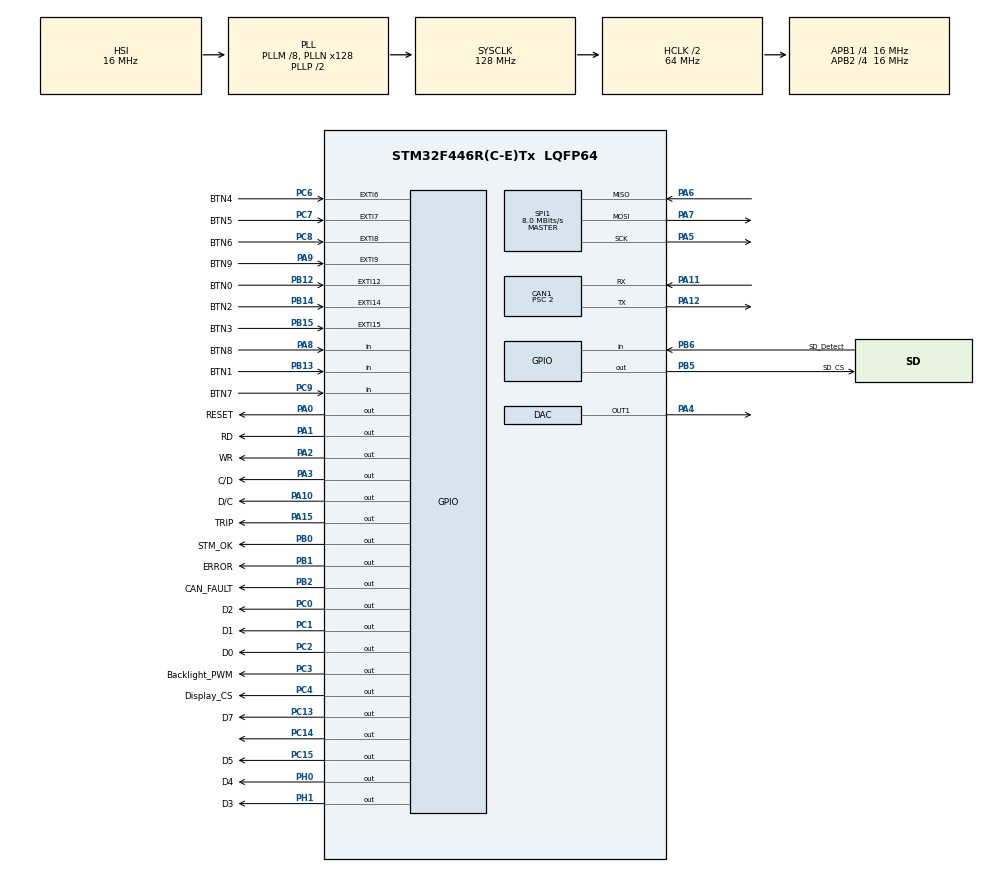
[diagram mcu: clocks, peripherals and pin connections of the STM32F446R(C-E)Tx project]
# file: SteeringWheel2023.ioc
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CAN1.BS1=CAN_BS1_13TQ
CAN1.BS2=CAN_BS2_2TQ
CAN1.CalculateBaudRate=500000
CAN1.CalculateTimeBit=2000
CAN1.CalculateTimeQuantum=125.0
CAN1.Prescaler=2
CAN1.SJW=CAN_SJW_1TQ
DAC.DAC_Trigger=DAC_TRIGGER_T2_TRGO
Dma.DAC1.0.Direction=DMA_MEMORY_TO_PERIPH
Dma.DAC1.0.FIFOMode=DMA_FIFOMODE_DISABLE
Dma.DAC1.0.Instance=DMA1_Stream5
Dma.DAC1.0.MemDataAlignment=DMA_MDATAALIGN_WORD
Dma.DAC1.0.MemInc=DMA_MINC_ENABLE
Dma.DAC1.0.Mode=DMA_CIRCULAR
Dma.DAC1.0.PeriphDataAlignment=DMA_PDATAALIGN_WORD
Dma.DAC1.0.PeriphInc=DMA_PINC_DISABLE
Dma.DAC1.0.Priority=DMA_PRIORITY_LOW
Dma.Request0=DAC1
FATFS._FS_REENTRANT=0
FATFS._MAX_SS=4096
FREERTOS.Tasks01=defaultTask,24,128,StartDefaultTask,Default,NULL,Dynamic,NULL,NULL
FREERTOS.configTOTAL_HEAP_SIZE=3072
Mcu.Family=STM32F4
Mcu.Name=STM32F446R(C-E)Tx
Mcu.Package=LQFP64
NVIC.CAN1_RX0_IRQn=true\:5\:0\:false\:false\:true\:true\:true\:true\:true
NVIC.DMA1_Stream5_IRQn=true\:5\:0\:false\:false\:true\:true\:false\:true\:true
NVIC.EXTI15_10_IRQn=true\:5\:0\:false\:false\:true\:true\:true\:true\:true
NVIC.EXTI9_5_IRQn=true\:5\:0\:false\:false\:true\:true\:true\:true\:true
NVIC.PriorityGroup=NVIC_PRIORITYGROUP_4
NVIC.TIM3_IRQn=true\:5\:0\:false\:false\:true\:true\:true\:true\:true
PA0-WKUP.GPIO_Label=RESET
PA0-WKUP.Signal=GPIO_Output
PA1.GPIO_Label=RD
PA1.Signal=GPIO_Output
PA10.GPIO_Label=D/C
PA10.GPIO_PuPd=GPIO_PULLUP
PA10.Signal=GPIO_Output
PA11.Mode=CAN_Activate
PA11.Signal=CAN1_RX
PA12.Mode=CAN_Activate
PA12.Signal=CAN1_TX
PA13.Mode=Serial_Wire
PA13.Signal=SYS_JTMS-SWDIO
PA14.Mode=Serial_Wire
PA14.Signal=SYS_JTCK-SWCLK
PA15.GPIO_Label=TRIP
PA15.GPIO_PuPd=GPIO_PULLDOWN
PA15.Signal=GPIO_Output
PA2.GPIO_Label=WR
PA2.Signal=GPIO_Output
PA3.GPIO_Label=C/D
PA3.Signal=GPIO_Output
PA4.Signal=COMP_DAC1_group
PA5.Mode=Full_Duplex_Master
PA5.Signal=SPI1_SCK
PA6.Mode=Full_Duplex_Master
PA6.Signal=SPI1_MISO
PA7.Mode=Full_Duplex_Master
PA7.Signal=SPI1_MOSI
PA8.GPIO_Label=BTN8
PA8.GPIO_PuPd=GPIO_PULLUP
PA8.Signal=GPIO_Input
PA9.GPIO_Label=BTN9
PA9.GPIO_ModeDefaultEXTI=GPIO_MODE_IT_FALLING
PA9.GPIO_PuPd=GPIO_PULLUP
PA9.Signal=GPXTI9
PB0.GPIO_Label=STM_OK
PB0.Signal=GPIO_Output
PB1.GPIO_Label=ERROR
PB1.Signal=GPIO_Output
PB12.GPIO_Label=BTN0
PB12.GPIO_ModeDefaultEXTI=GPIO_MODE_IT_FALLING
PB12.GPIO_PuPd=GPIO_PULLUP
PB12.Signal=GPXTI12
PB13.GPIO_Label=BTN1
PB13.GPIO_PuPd=GPIO_PULLUP
PB13.Signal=GPIO_Input
PB14.GPIO_Label=BTN2
PB14.GPIO_ModeDefaultEXTI=GPIO_MODE_IT_FALLING
PB14.GPIO_PuPd=GPIO_PULLUP
PB14.Signal=GPXTI14
PB15.GPIO_Label=BTN3
PB15.GPIO_ModeDefaultEXTI=GPIO_MODE_IT_FALLING
PB15.GPIO_PuPd=GPIO_PULLUP
PB15.Signal=GPXTI15
PB2.GPIO_Label=CAN_FAULT
PB2.Signal=GPIO_Output
PB5.GPIO_Label=SD_CS
PB5.Signal=GPIO_Output
PB6.GPIO_Label=SD_Detect
PB6.Signal=GPIO_Input
PC0.GPIO_Label=D2
PC0.Signal=GPIO_Output
PC1.GPIO_Label=D1
PC1.Signal=GPIO_Output
PC13.GPIO_Label=D7
PC13.Signal=GPIO_Output
PC14-OSC32_IN.Signal=GPIO_Output
PC15-OSC32_OUT.GPIO_Label=D5
PC15-OSC32_OUT.Signal=GPIO_Output
PC2.GPIO_Label=D0
PC2.Signal=GPIO_Output
PC3.GPIO_Label=Backlight_PWM
PC3.Signal=GPIO_Output
PC4.GPIO_Label=Display_CS
PC4.Signal=GPIO_Output
PC6.GPIO_Label=BTN4
PC6.GPIO_ModeDefaultEXTI=GPIO_MODE_IT_FALLING
PC6.GPIO_PuPd=GPIO_PULLUP
PC6.Signal=GPXTI6
PC7.GPIO_Label=BTN5
PC7.GPIO_ModeDefaultEXTI=GPIO_MODE_IT_FALLING
PC7.GPIO_PuPd=GPIO_PULLUP
PC7.Signal=GPXTI7
PC8.GPIO_Label=BTN6
PC8.GPIO_ModeDefaultEXTI=GPIO_MODE_IT_FALLING
PC8.GPIO_PuPd=GPIO_PULLUP
PC8.Signal=GPXTI8
PC9.GPIO_Label=BTN7
PC9.GPIO_PuPd=GPIO_PULLUP
PC9.Signal=GPIO_Input
PH0-OSC_IN.GPIO_Label=D4
PH0-OSC_IN.Signal=GPIO_Output
PH1-OSC_OUT.GPIO_Label=D3
PH1-OSC_OUT.Signal=GPIO_Output
ProjectManager.HeapSize=0x200
ProjectManager.StackSize=0x400
ProjectManager.TargetToolchain=STM32CubeIDE
RCC.AHBCLKDivider=RCC_SYSCLK_DIV2
RCC.AHBFreq_Value=64000000
RCC.APB1CLKDivider=RCC_HCLK_DIV4
RCC.APB1Freq_Value=16000000
RCC.APB1TimFreq_Value=32000000
RCC.APB2CLKDivider=RCC_HCLK_DIV4
RCC.APB2Freq_Value=16000000
RCC.APB2TimFreq_Value=32000000
RCC.CortexFreq_Value=64000000
RCC.HCLKFreq_Value=64000000
RCC.PLLM=8
RCC.PLLN=128
RCC.PLLQ=6
RCC.PLLSAIP=RCC_PLLSAIP_DIV4
RCC.PLLSourceVirtual=RCC_PLLSOURCE_HSI
RCC.SYSCLKFreq_VALUE=128000000
RCC.SYSCLKSource=RCC_SYSCLKSOURCE_PLLCLK
RCC.USBCLockSelection=RCC_CLK48CLKSOURCE_PLLSAIP
RCC.USBFreq_Value=48000000
RCC.VCOOutputFreq_Value=256000000
SH.COMP_DAC1_group.0=DAC_OUT1,DAC_OUT1
SPI1.BaudRatePrescaler=SPI_BAUDRATEPRESCALER_2
SPI1.CalculateBaudRate=8.0 MBits/s
SPI1.Direction=SPI_DIRECTION_2LINES
SPI1.Mode=SPI_MODE_MASTER
SPI1.VirtualType=VM_MASTER
TIM2.AutoReloadPreload=TIM_AUTORELOAD_PRELOAD_DISABLE
TIM2.Period=100
TIM2.Prescaler=31
TIM2.TIM_MasterOutputTrigger=TIM_TRGO_UPDATE
TIM2.TIM_MasterSlaveMode=TIM_MASTERSLAVEMODE_DISABLE
TIM3.Period=275
TIM3.Prescaler=4095
VP_FATFS_VS_Generic.Mode=User_defined
VP_FREERTOS_VS_CMSIS_V2.Mode=CMSIS_V2
VP_TIM2_VS_ClockSourceINT.Mode=Internal
VP_TIM3_VS_ClockSourceINT.Mode=Internal
board=custom

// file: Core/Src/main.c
/* USER CODE BEGIN Header */
/**
  ******************************************************************************
  * @file           : main.c
  * @brief          : Main program body
  ******************************************************************************
  * @attention
  *
  * Copyright (c) 2023 STMicroelectronics.
  * All rights reserved.
  *
  * This software is licensed under terms that can be found in the LICENSE file
  * in the root directory of this software component.
  * If no LICENSE file comes with this software, it is provided AS-IS.
  *
  ******************************************************************************
  */
/* USER CODE END Header */
#include "main.h"
#include "cmsis_os.h"
#include "fatfs.h"

CAN_HandleTypeDef hcan1;

DAC_HandleTypeDef hdac;
DMA_HandleTypeDef hdma_dac1;

SPI_HandleTypeDef hspi1;

TIM_HandleTypeDef htim2;
TIM_HandleTypeDef htim3;

/* Definitions for defaultTask */
osThreadId_t defaultTaskHandle;
const osThreadAttr_t defaultTask_attributes = {
  .name = "defaultTask",
  .stack_size = 128 * 4,
  .priority = (osPriority_t) osPriorityNormal,
};

void SystemClock_Config(void);
static void MX_GPIO_Init(void);
static void MX_DMA_Init(void);
static void MX_CAN1_Init(void);
static void MX_SPI1_Init(void);
static void MX_TIM2_Init(void);
static void MX_DAC_Init(void);
static void MX_TIM3_Init(void);
void StartDefaultTask(void *argument);

/* USER CODE BEGIN PFP */
uint32_t sine_vals[100] = {0x8000,0x8809,0x900a,0x97fc,0x9fd4,0xa78d,0xaf1e,0xb67f,0xbda9,0xc495,0xcb3c,0xd196,0xd79e,0xdd4e,0xe29f,0xe78d,0xec12,0xf02a,0xf3d0,0xf702,0xf9bb,0xfbfa,0xfdbb,0xfefd,0xffbe,0xffff,0xffbe,0xfefd,0xfdbb,0xfbfa,0xf9bb,0xf702,0xf3d0,0xf02a,0xec12,0xe78d,0xe29f,0xdd4e,0xd79e,0xd196,0xcb3c,0xc495,0xbda9,0xb67f,0xaf1e,0xa78d,0x9fd4,0x97fc,0x900a,0x8809,0x8000,0x77f6,0x6ff5,0x6803,0x602b,0x5872,0x50e1,0x4980,0x4256,0x3b6a,0x34c3,0x2e69,0x2861,0x22b1,0x1d60,0x1872,0x13ed,0xfd5,0xc2f,0x8fd,0x644,0x405,0x244,0x102,0x41,0x0,0x41,0x102,0x244,0x405,0x644,0x8fd,0xc2f,0xfd5,0x13ed,0x1872,0x1d60,0x22b1,0x2861,0x2e69,0x34c3,0x3b6a,0x4256,0x4980,0x50e1,0x5872,0x602b,0x6803,0x6ff5,0x77f6};
/* USER CODE END PFP */

int main(void)
{

  /* MCU Configuration--------------------------------------------------------*/

  /* Reset of all peripherals, Initializes the Flash interface and the Systick. */
  HAL_Init();

  /* Configure the system clock */
  SystemClock_Config();

  /* Initialize all configured peripherals */
  MX_GPIO_Init();
  MX_DMA_Init();
  MX_CAN1_Init();
  MX_SPI1_Init();
  MX_FATFS_Init();
  MX_TIM2_Init();
  MX_DAC_Init();
  MX_TIM3_Init();
  /* USER CODE BEGIN 2 */
  HAL_DAC_Start(&hdac, DAC_CHANNEL_1);
  HAL_DAC_Start_DMA(&hdac, DAC_CHANNEL_1, sine_vals, 100, DAC_ALIGN_12B_R);
  osKernelInitialize();
  defaultTaskHandle = osThreadNew(StartDefaultTask, NULL, &defaultTask_attributes);
  CPP_UserSetup();
  /* USER CODE END 2 */

  /* Init scheduler */
  //osKernelInitialize();
/* USER CODE BEGIN Header */
/**
  ******************************************************************************
  * @file           : main.c
  * @brief          : Main program body
  ******************************************************************************
  * @attention
  *
  * Copyright (c) 2023 STMicroelectronics.
  * All rights reserved.
  *
  * This software is licensed under terms that can be found in the LICENSE file
  * in the root directory of this software component.
  * If no LICENSE file comes with this software, it is provided AS-IS.
  *
  ******************************************************************************
  */
/* USER CODE END Header */

  /* Start scheduler */
  osKernelStart();

  /* We should never get here as control is now taken by the scheduler */
  /* Infinite loop */
  /* USER CODE BEGIN WHILE */

  while (1)
  {
	HAL_GPIO_TogglePin(STM_OK_GPIO_Port, STM_OK_Pin);
	HAL_Delay(500);

    /* USER CODE END WHILE */

  }
}

void SystemClock_Config(void)
{
  RCC_OscInitTypeDef RCC_OscInitStruct = {0};
  RCC_ClkInitTypeDef RCC_ClkInitStruct = {0};

  /** Configure the main internal regulator output voltage
  */
  __HAL_RCC_PWR_CLK_ENABLE();
  __HAL_PWR_VOLTAGESCALING_CONFIG(PWR_REGULATOR_VOLTAGE_SCALE3);

  /** Initializes the RCC Oscillators according to the specified parameters
  * in the RCC_OscInitTypeDef structure.
  */
  RCC_OscInitStruct.OscillatorType = RCC_OSCILLATORTYPE_HSI;
  RCC_OscInitStruct.HSIState = RCC_HSI_ON;
  RCC_OscInitStruct.HSICalibrationValue = RCC_HSICALIBRATION_DEFAULT;
  RCC_OscInitStruct.PLL.PLLState = RCC_PLL_ON;
  RCC_OscInitStruct.PLL.PLLSource = RCC_PLLSOURCE_HSI;
  RCC_OscInitStruct.PLL.PLLM = 8;
  RCC_OscInitStruct.PLL.PLLN = 128;
  RCC_OscInitStruct.PLL.PLLP = RCC_PLLP_DIV2;
  RCC_OscInitStruct.PLL.PLLQ = 6;
  RCC_OscInitStruct.PLL.PLLR = 2;
  if (HAL_RCC_OscConfig(&RCC_OscInitStruct) != HAL_OK)
  {
    Error_Handler();
  }

  /** Initializes the CPU, AHB and APB buses clocks
  */
  RCC_ClkInitStruct.ClockType = RCC_CLOCKTYPE_HCLK|RCC_CLOCKTYPE_SYSCLK
                              |RCC_CLOCKTYPE_PCLK1|RCC_CLOCKTYPE_PCLK2;
  RCC_ClkInitStruct.SYSCLKSource = RCC_SYSCLKSOURCE_PLLCLK;
  RCC_ClkInitStruct.AHBCLKDivider = RCC_SYSCLK_DIV2;
  RCC_ClkInitStruct.APB1CLKDivider = RCC_HCLK_DIV4;
  RCC_ClkInitStruct.APB2CLKDivider = RCC_HCLK_DIV4;

  if (HAL_RCC_ClockConfig(&RCC_ClkInitStruct, FLASH_LATENCY_2) != HAL_OK)
  {
    Error_Handler();
  }
}

static void MX_CAN1_Init(void)
{

  hcan1.Instance = CAN1;
  hcan1.Init.Prescaler = 2;
  hcan1.Init.Mode = CAN_MODE_NORMAL;
  hcan1.Init.SyncJumpWidth = CAN_SJW_1TQ;
  hcan1.Init.TimeSeg1 = CAN_BS1_13TQ;
  hcan1.Init.TimeSeg2 = CAN_BS2_2TQ;
  hcan1.Init.TimeTriggeredMode = DISABLE;
  hcan1.Init.AutoBusOff = DISABLE;
  hcan1.Init.AutoWakeUp = DISABLE;
  hcan1.Init.AutoRetransmission = DISABLE;
  hcan1.Init.ReceiveFifoLocked = DISABLE;
  hcan1.Init.TransmitFifoPriority = DISABLE;
  if (HAL_CAN_Init(&hcan1) != HAL_OK)
  {
    Error_Handler();
  }

}

static void MX_DAC_Init(void)
{

  DAC_ChannelConfTypeDef sConfig = {0};

  /** DAC Initialization
  */
  hdac.Instance = DAC;
  if (HAL_DAC_Init(&hdac) != HAL_OK)
  {
    Error_Handler();
  }

  /** DAC channel OUT1 config
  */
  sConfig.DAC_Trigger = DAC_TRIGGER_T2_TRGO;
  sConfig.DAC_OutputBuffer = DAC_OUTPUTBUFFER_ENABLE;
  if (HAL_DAC_ConfigChannel(&hdac, &sConfig, DAC_CHANNEL_1) != HAL_OK)
  {
    Error_Handler();
  }

}

static void MX_SPI1_Init(void)
{

  /* SPI1 parameter configuration*/
  hspi1.Instance = SPI1;
  hspi1.Init.Mode = SPI_MODE_MASTER;
  hspi1.Init.Direction = SPI_DIRECTION_2LINES;
  hspi1.Init.DataSize = SPI_DATASIZE_8BIT;
  hspi1.Init.CLKPolarity = SPI_POLARITY_LOW;
  hspi1.Init.CLKPhase = SPI_PHASE_1EDGE;
  hspi1.Init.NSS = SPI_NSS_SOFT;
  hspi1.Init.BaudRatePrescaler = SPI_BAUDRATEPRESCALER_2;
  hspi1.Init.FirstBit = SPI_FIRSTBIT_MSB;
  hspi1.Init.TIMode = SPI_TIMODE_DISABLE;
  hspi1.Init.CRCCalculation = SPI_CRCCALCULATION_DISABLE;
  hspi1.Init.CRCPolynomial = 10;
  if (HAL_SPI_Init(&hspi1) != HAL_OK)
  {
    Error_Handler();
  }

}

static void MX_TIM2_Init(void)
{

  TIM_ClockConfigTypeDef sClockSourceConfig = {0};
  TIM_MasterConfigTypeDef sMasterConfig = {0};

  htim2.Instance = TIM2;
  htim2.Init.Prescaler = 31;
  htim2.Init.CounterMode = TIM_COUNTERMODE_UP;
  htim2.Init.Period = 100;
  htim2.Init.ClockDivision = TIM_CLOCKDIVISION_DIV1;
  htim2.Init.AutoReloadPreload = TIM_AUTORELOAD_PRELOAD_DISABLE;
  if (HAL_TIM_Base_Init(&htim2) != HAL_OK)
  {
    Error_Handler();
  }
  sClockSourceConfig.ClockSource = TIM_CLOCKSOURCE_INTERNAL;
  if (HAL_TIM_ConfigClockSource(&htim2, &sClockSourceConfig) != HAL_OK)
  {
    Error_Handler();
  }
  sMasterConfig.MasterOutputTrigger = TIM_TRGO_UPDATE;
  sMasterConfig.MasterSlaveMode = TIM_MASTERSLAVEMODE_DISABLE;
  if (HAL_TIMEx_MasterConfigSynchronization(&htim2, &sMasterConfig) != HAL_OK)
  {
    Error_Handler();
  }

}

static void MX_TIM3_Init(void)
{

  TIM_ClockConfigTypeDef sClockSourceConfig = {0};
  TIM_MasterConfigTypeDef sMasterConfig = {0};

  htim3.Instance = TIM3;
  htim3.Init.Prescaler = 4095;
  htim3.Init.CounterMode = TIM_COUNTERMODE_UP;
  htim3.Init.Period = 275;
  htim3.Init.ClockDivision = TIM_CLOCKDIVISION_DIV1;
  htim3.Init.AutoReloadPreload = TIM_AUTORELOAD_PRELOAD_DISABLE;
  if (HAL_TIM_Base_Init(&htim3) != HAL_OK)
  {
    Error_Handler();
  }
  sClockSourceConfig.ClockSource = TIM_CLOCKSOURCE_INTERNAL;
  if (HAL_TIM_ConfigClockSource(&htim3, &sClockSourceConfig) != HAL_OK)
  {
    Error_Handler();
  }
  sMasterConfig.MasterOutputTrigger = TIM_TRGO_RESET;
  sMasterConfig.MasterSlaveMode = TIM_MASTERSLAVEMODE_DISABLE;
  if (HAL_TIMEx_MasterConfigSynchronization(&htim3, &sMasterConfig) != HAL_OK)
  {
    Error_Handler();
  }

}

static void MX_DMA_Init(void)
{

  /* DMA controller clock enable */
  __HAL_RCC_DMA1_CLK_ENABLE();

  /* DMA interrupt init */
  /* DMA1_Stream5_IRQn interrupt configuration */
  HAL_NVIC_SetPriority(DMA1_Stream5_IRQn, 5, 0);
  HAL_NVIC_EnableIRQ(DMA1_Stream5_IRQn);

}

static void MX_GPIO_Init(void)
{
  GPIO_InitTypeDef GPIO_InitStruct = {0};

  /* GPIO Ports Clock Enable */
  __HAL_RCC_GPIOC_CLK_ENABLE();
  __HAL_RCC_GPIOH_CLK_ENABLE();
  __HAL_RCC_GPIOA_CLK_ENABLE();
  __HAL_RCC_GPIOB_CLK_ENABLE();

  /*Configure GPIO pin Output Level */
  HAL_GPIO_WritePin(GPIOC, D7_Pin|GPIO_PIN_14|D5_Pin|D2_Pin
                          |D1_Pin|D0_Pin|Backlight_PWM_Pin|Display_CS_Pin, GPIO_PIN_RESET);

  /*Configure GPIO pin Output Level */
  HAL_GPIO_WritePin(GPIOH, D4_Pin|D3_Pin, GPIO_PIN_RESET);

  /*Configure GPIO pin Output Level */
  HAL_GPIO_WritePin(GPIOA, RESET_Pin|RD_Pin|WR_Pin|C_D_Pin
                          |D_C_Pin|TRIP_Pin, GPIO_PIN_RESET);

  /*Configure GPIO pin Output Level */
  HAL_GPIO_WritePin(GPIOB, STM_OK_Pin|ERROR_Pin|CAN_FAULT_Pin|SD_CS_Pin, GPIO_PIN_RESET);

  /*Configure GPIO pins : D7_Pin PC14 D5_Pin D2_Pin
                           D1_Pin D0_Pin Backlight_PWM_Pin Display_CS_Pin */
  GPIO_InitStruct.Pin = D7_Pin|GPIO_PIN_14|D5_Pin|D2_Pin
                          |D1_Pin|D0_Pin|Backlight_PWM_Pin|Display_CS_Pin;
  GPIO_InitStruct.Mode = GPIO_MODE_OUTPUT_PP;
  GPIO_InitStruct.Pull = GPIO_NOPULL;
  GPIO_InitStruct.Speed = GPIO_SPEED_FREQ_LOW;
  HAL_GPIO_Init(GPIOC, &GPIO_InitStruct);

  /*Configure GPIO pins : D4_Pin D3_Pin */
  GPIO_InitStruct.Pin = D4_Pin|D3_Pin;
  GPIO_InitStruct.Mode = GPIO_MODE_OUTPUT_PP;
  GPIO_InitStruct.Pull = GPIO_NOPULL;
  GPIO_InitStruct.Speed = GPIO_SPEED_FREQ_LOW;
  HAL_GPIO_Init(GPIOH, &GPIO_InitStruct);

  /*Configure GPIO pins : RESET_Pin RD_Pin WR_Pin C_D_Pin */
  GPIO_InitStruct.Pin = RESET_Pin|RD_Pin|WR_Pin|C_D_Pin;
  GPIO_InitStruct.Mode = GPIO_MODE_OUTPUT_PP;
  GPIO_InitStruct.Pull = GPIO_NOPULL;
  GPIO_InitStruct.Speed = GPIO_SPEED_FREQ_LOW;
  HAL_GPIO_Init(GPIOA, &GPIO_InitStruct);

  /*Configure GPIO pins : STM_OK_Pin ERROR_Pin CAN_FAULT_Pin SD_CS_Pin */
  GPIO_InitStruct.Pin = STM_OK_Pin|ERROR_Pin|CAN_FAULT_Pin|SD_CS_Pin;
  GPIO_InitStruct.Mode = GPIO_MODE_OUTPUT_PP;
  GPIO_InitStruct.Pull = GPIO_NOPULL;
  GPIO_InitStruct.Speed = GPIO_SPEED_FREQ_LOW;
  HAL_GPIO_Init(GPIOB, &GPIO_InitStruct);

  /*Configure GPIO pins : BTN0_Pin BTN2_Pin BTN3_Pin */
  GPIO_InitStruct.Pin = BTN0_Pin|BTN2_Pin|BTN3_Pin;
  GPIO_InitStruct.Mode = GPIO_MODE_IT_FALLING;
  GPIO_InitStruct.Pull = GPIO_PULLUP;
  HAL_GPIO_Init(GPIOB, &GPIO_InitStruct);

  /*Configure GPIO pin : BTN1_Pin */
  GPIO_InitStruct.Pin = BTN1_Pin;
  GPIO_InitStruct.Mode = GPIO_MODE_INPUT;
  GPIO_InitStruct.Pull = GPIO_PULLUP;
  HAL_GPIO_Init(BTN1_GPIO_Port, &GPIO_InitStruct);

  /*Configure GPIO pins : BTN4_Pin BTN5_Pin BTN6_Pin */
  GPIO_InitStruct.Pin = BTN4_Pin|BTN5_Pin|BTN6_Pin;
  GPIO_InitStruct.Mode = GPIO_MODE_IT_FALLING;
  GPIO_InitStruct.Pull = GPIO_PULLUP;
  HAL_GPIO_Init(GPIOC, &GPIO_InitStruct);

  /*Configure GPIO pin : BTN7_Pin */
  GPIO_InitStruct.Pin = BTN7_Pin;
  GPIO_InitStruct.Mode = GPIO_MODE_INPUT;
  GPIO_InitStruct.Pull = GPIO_PULLUP;
  HAL_GPIO_Init(BTN7_GPIO_Port, &GPIO_InitStruct);

  /*Configure GPIO pin : BTN8_Pin */
  GPIO_InitStruct.Pin = BTN8_Pin;
  GPIO_InitStruct.Mode = GPIO_MODE_INPUT;
  GPIO_InitStruct.Pull = GPIO_PULLUP;
  HAL_GPIO_Init(BTN8_GPIO_Port, &GPIO_InitStruct);

  /*Configure GPIO pin : BTN9_Pin */
  GPIO_InitStruct.Pin = BTN9_Pin;
  GPIO_InitStruct.Mode = GPIO_MODE_IT_FALLING;
  GPIO_InitStruct.Pull = GPIO_PULLUP;
  HAL_GPIO_Init(BTN9_GPIO_Port, &GPIO_InitStruct);

  /*Configure GPIO pin : D_C_Pin */
  GPIO_InitStruct.Pin = D_C_Pin;
  GPIO_InitStruct.Mode = GPIO_MODE_OUTPUT_PP;
  GPIO_InitStruct.Pull = GPIO_PULLUP;
  GPIO_InitStruct.Speed = GPIO_SPEED_FREQ_LOW;
  HAL_GPIO_Init(D_C_GPIO_Port, &GPIO_InitStruct);

  /*Configure GPIO pin : TRIP_Pin */
  GPIO_InitStruct.Pin = TRIP_Pin;
  GPIO_InitStruct.Mode = GPIO_MODE_OUTPUT_PP;
  GPIO_InitStruct.Pull = GPIO_PULLDOWN;
  GPIO_InitStruct.Speed = GPIO_SPEED_FREQ_LOW;
  HAL_GPIO_Init(TRIP_GPIO_Port, &GPIO_InitStruct);

  /*Configure GPIO pin : SD_Detect_Pin */
  GPIO_InitStruct.Pin = SD_Detect_Pin;
  GPIO_InitStruct.Mode = GPIO_MODE_INPUT;
  GPIO_InitStruct.Pull = GPIO_NOPULL;
  HAL_GPIO_Init(SD_Detect_GPIO_Port, &GPIO_InitStruct);

  /* EXTI interrupt init*/
  HAL_NVIC_SetPriority(EXTI9_5_IRQn, 5, 0);
  HAL_NVIC_EnableIRQ(EXTI9_5_IRQn);

  HAL_NVIC_SetPriority(EXTI15_10_IRQn, 5, 0);
  HAL_NVIC_EnableIRQ(EXTI15_10_IRQn);

}

/* USER CODE BEGIN 4 */

void HAL_GPIO_EXTI_Callback(uint16_t GPIO_Pin)
{
  // Call into C++ Domain
  CPP_HandleGPIOInterrupt(GPIO_Pin);
}

/* USER CODE END 4 */

void StartDefaultTask(void *argument)
{
  /* USER CODE BEGIN 5 */
  /* Infinite loop */
  for(;;)
  {
	HAL_GPIO_TogglePin(STM_OK_GPIO_Port, STM_OK_Pin);
	// HAL_GPIO_TogglePin(DAC_OUT1_GPIO_Port, DAC_OUT1_Pin);
	osDelay(500);
  }
  /* USER CODE END 5 */
}

void Error_Handler(void)
{
  /* USER CODE BEGIN Error_Handler_Debug */
  /* User can add his own implementation to report the HAL error return state */
  __disable_irq();
  while (1)
  {
	  HAL_GPIO_WritePin(STM_OK_GPIO_Port, STM_OK_Pin, GPIO_PIN_RESET);
	  HAL_GPIO_WritePin(ERROR_GPIO_Port, ERROR_Pin, GPIO_PIN_SET);
  }
  /* USER CODE END Error_Handler_Debug */
}

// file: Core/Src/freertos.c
/* USER CODE BEGIN Header */
/**
  ******************************************************************************
  * File Name          : freertos.c
  * Description        : Code for freertos applications
  ******************************************************************************
  * @attention
  *
  * <h2><center>&copy; Copyright (c) 2021 STMicroelectronics.
  * All rights reserved.</center></h2>
  *
  * This software component is licensed by ST under Ultimate Liberty license
  * SLA0044, the "License"; You may not use this file except in compliance with
  * the License. You may obtain a copy of the License at:
  *                             www.st.com/SLA0044
  *
  ******************************************************************************
  */
/* USER CODE END Header */

#include "FreeRTOS.h"
#include "task.h"
#include "main.h"

/* Hook prototypes */
void vApplicationStackOverflowHook(xTaskHandle xTask, signed char *pcTaskName);

/* USER CODE BEGIN 4 */
void vApplicationStackOverflowHook(xTaskHandle xTask, signed char *pcTaskName)
{
   /* Run time stack overflow checking is performed if
   configCHECK_FOR_STACK_OVERFLOW is defined to 1 or 2. This hook function is
   called if a stack overflow is detected. */
  HAL_GPIO_WritePin(ERROR_GPIO_Port, ERROR_Pin, GPIO_PIN_SET);
  while(1)
  { }
}
/* USER CODE END 4 */
